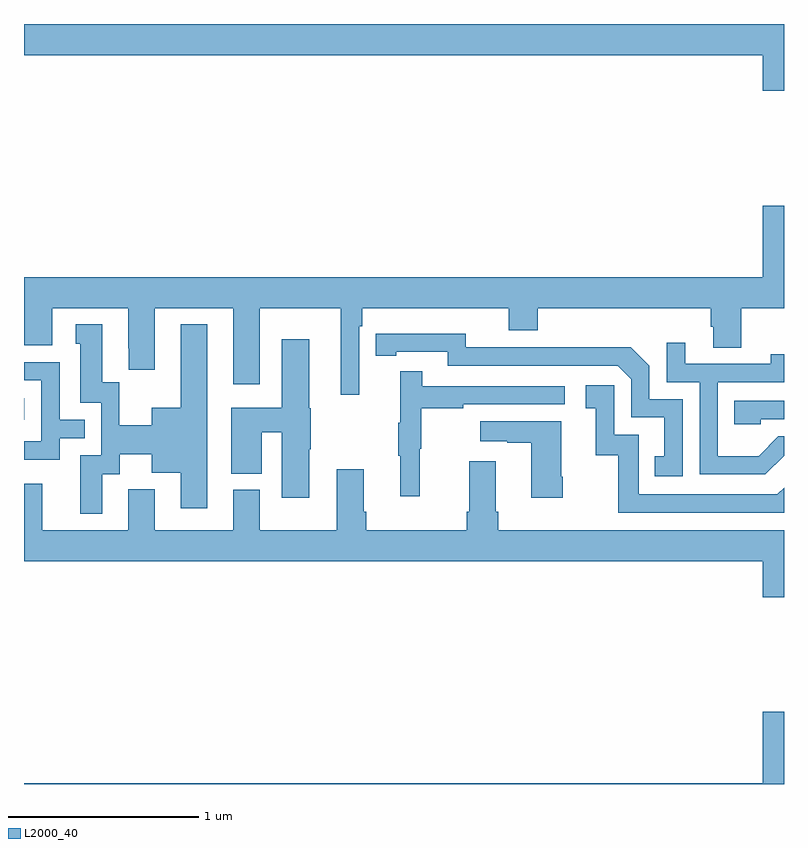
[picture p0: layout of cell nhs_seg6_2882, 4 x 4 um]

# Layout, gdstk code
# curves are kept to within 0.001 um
import gdstk
lib = gdstk.Library(unit=1e-6, precision=1e-09)
def R(c, l, rs):  # rectangles x0, y0, x1, y1
    for r in rs: c.add(gdstk.rectangle(r[:2], r[2:], *l))
def P(c, l, *ps):  # polygons
    for p in ps: c.add(gdstk.Polygon(p, *l))
L2000_40 = (2000, 40)

nhs_seg6_2882 = lib.new_cell('nhs_seg6_2882')
R(nhs_seg6_2882, L2000_40, [(281,945.416,281.002,945.531)])
P(nhs_seg6_2882, L2000_40, [(285,947.5),(281,947.5),(281,947.336),(284.888,947.336),(284.888,947.148),(285,947.148)],
  [(282.765,945.908),(282.779,945.908),(282.779,946.004),(283.55,946.004),(283.55,945.887),(283.703,945.887),(283.703,946.004),(284.615,946.004),(284.615,945.906),(284.627,945.906),(284.627,945.796),(284.775,945.796),(284.775,946.004),(285,946.004),(285,946.543),(284.888,946.543),(284.888,946.168),(281,946.168),(281,945.81),(281.149,945.81),(281.149,946.004),(281.549,946.004),(281.549,945.793),(281.55,945.793),(281.55,945.681),(281.689,945.681),(281.689,946.004),(282.101,946.004),(282.101,945.603),(282.241,945.603),(282.241,946.004),(282.668,946.004),(282.668,945.549),(282.765,945.549)],
  [(281.413,945.13),(281.503,945.13),(281.503,945.236),(281.672,945.236),(281.672,945.137),(281.825,945.137),(281.825,944.952),(281.965,944.952),(281.965,945.919),(281.825,945.919),(281.825,945.481),(281.672,945.481),(281.672,945.388),(281.502,945.388),(281.502,945.615),(281.413,945.615),(281.413,945.919),(281.273,945.919),(281.273,945.816),(281.297,945.816),(281.297,945.507),(281.406,945.507),(281.406,945.231),(281.297,945.231),(281.297,944.922),(281.413,944.922)],
  [(284.466,945.525),(284.292,945.525),(284.292,945.702),(284.194,945.8),(283.786,945.8),(283.786,945.798),(283.326,945.798),(283.326,945.871),(282.85,945.87),(282.85,945.754),(282.958,945.754),(282.958,945.774),(283.23,945.774),(283.23,945.702),(284.124,945.702),(284.196,945.63),(284.196,945.429),(284.369,945.429),(284.369,945.225),(284.32,945.225),(284.32,945.12),(284.466,945.12)],
  [(282.502,945.263),(282.51,945.263),(282.51,945.477),(282.502,945.477),(282.502,945.841),(282.356,945.841),(282.356,945.481),(282.092,945.481),(282.092,945.134),(282.25,945.134),(282.25,945.352),(282.356,945.352),(282.356,945.006),(282.502,945.006)],
  [(285,945.227),(285,945.33),(284.97,945.33),(284.866,945.226),(284.652,945.226),(284.652,945.615),(285,945.615),(285,945.763),(284.93,945.763),(284.93,945.711),(284.479,945.711),(284.479,945.823),(284.382,945.823),(284.382,945.615),(284.556,945.615),(284.556,945.129),(284.902,945.129)],
  [(281.187,945.321),(281.321,945.321),(281.321,945.417),(281.187,945.417),(281.187,945.72),(281,945.72),(281,945.624),(281.091,945.624),(281.091,945.303),(281,945.303),(281,945.207),(281.187,945.207)],
  [(283.082,945.264),(283.09,945.264),(283.09,945.478),(283.313,945.478),(283.313,945.498),(283.846,945.498),(283.846,945.594),(283.097,945.594),(283.097,945.673),(282.98,945.673),(282.98,945.401),(282.969,945.401),(282.969,945.227),(282.98,945.227),(282.98,945.015),(283.082,945.015)],
  [(285,945.06),(284.964,945.024),(284.235,945.024),(284.235,945.339),(284.106,945.339),(284.106,945.598),(283.956,945.598),(283.956,945.477),(284.009,945.477),(284.009,945.231),(284.127,945.231),(284.127,944.928),(285,944.928)],
  [(284.877,945.42),(285,945.42),(285,945.516),(284.737,945.516),(284.737,945.393),(284.877,945.393)],
  [(283.836,945.118),(283.828,945.118),(283.828,945.409),(283.401,945.409),(283.401,945.305),(283.544,945.305),(283.544,945.295),(283.67,945.295),(283.67,945.006),(283.836,945.006)],
  [(285,944.836),(283.496,944.836),(283.496,944.932),(283.483,944.932),(283.483,945.199),(283.343,945.199),(283.343,944.932),(283.331,944.932),(283.331,944.836),(282.8,944.836),(282.8,944.932),(282.787,944.932),(282.787,945.157),(282.647,945.157),(282.647,944.836),(282.241,944.836),(282.241,945.049),(282.101,945.049),(282.101,944.836),(281.689,944.836),(281.689,945.052),(281.549,945.052),(281.549,944.836),(281.095,944.836),(281.095,945.079),(281,945.079),(281,944.672),(284.888,944.672),(284.888,944.484),(285,944.484)],
  [(285,943.879),(284.888,943.879),(284.888,943.504),(281,943.504),(281,943.5),(285,943.5)])

lib.write_gds('nhs_seg6_2882.gds')
